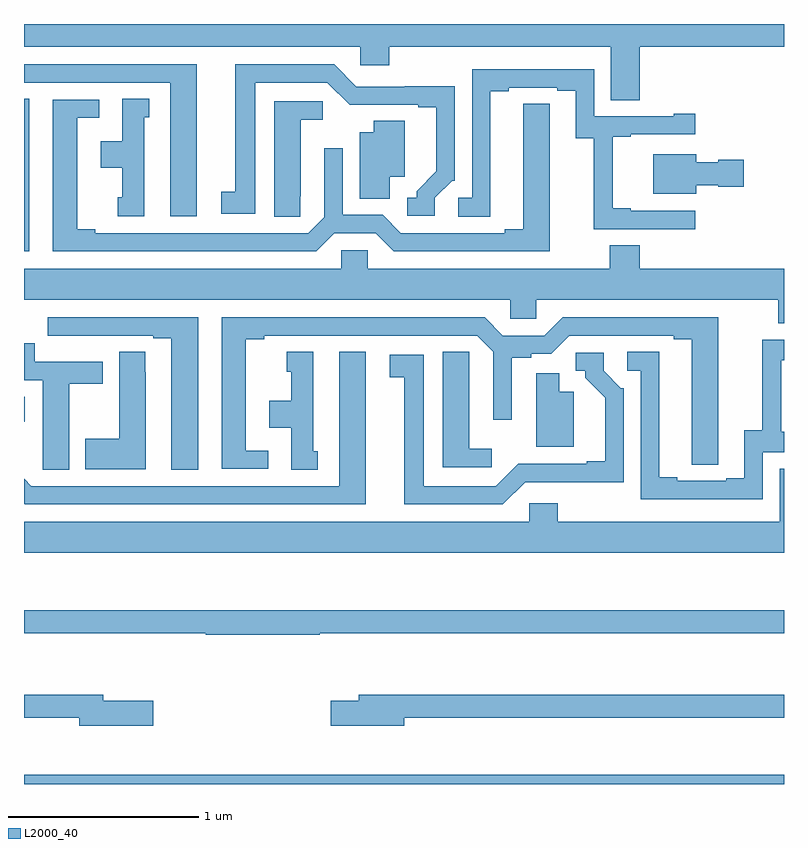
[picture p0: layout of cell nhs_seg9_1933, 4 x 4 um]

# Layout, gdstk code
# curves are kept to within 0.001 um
import gdstk
lib = gdstk.Library(unit=1e-6, precision=1e-09)
def R(c, l, rs):  # rectangles x0, y0, x1, y1
    for r in rs: c.add(gdstk.rectangle(r[:2], r[2:], *l))
def P(c, l, *ps):  # polygons
    for p in ps: c.add(gdstk.Polygon(p, *l))
L2000_40 = (2000, 40)

nhs_seg9_1933 = lib.new_cell('nhs_seg9_1933')
R(nhs_seg9_1933, L2000_40, [(219,1232.5,223,1232.548), (219,1234.407,219.004,1234.537), (219,1235.304,219.028,1236.107)])
P(nhs_seg9_1933, L2000_40, [(222.242,1236.38),(223,1236.38),(223,1236.5),(219,1236.5),(219,1236.38),(220.77,1236.38),(220.77,1236.282),(220.922,1236.282),(220.922,1236.38),(222.089,1236.38),(222.089,1236.1),(222.242,1236.1)],
  [(221.163,1235.586),(221.253,1235.676),(221.268,1235.676),(221.268,1236.173),(221.005,1236.173),(221.005,1236.171),(220.749,1236.171),(220.632,1236.288),(220.112,1236.288),(220.112,1235.618),(220.038,1235.618),(220.038,1235.502),(220.216,1235.502),(220.216,1236.192),(220.596,1236.192),(220.714,1236.074),(221.075,1236.075),(221.075,1236.063),(221.171,1236.063),(221.171,1235.726),(221.066,1235.621),(221.066,1235.586),(221.016,1235.586),(221.016,1235.49),(221.163,1235.49)],
  [(219.91,1236.288),(219,1236.288),(219,1236.192),(219.77,1236.192),(219.77,1235.487),(219.91,1235.487)],
  [(222.532,1235.517),(222.193,1235.517),(222.193,1235.53),(222.098,1235.53),(222.098,1235.907),(222.193,1235.907),(222.193,1235.919),(222.532,1235.919),(222.532,1236.028),(222.419,1236.028),(222.419,1236.015),(222,1236.015),(222,1236.261),(221.358,1236.261),(221.358,1235.586),(221.286,1235.586),(221.286,1235.485),(221.455,1235.485),(221.455,1236.145),(221.551,1236.145),(221.551,1236.165),(221.807,1236.165),(221.807,1236.15),(221.903,1236.15),(221.903,1235.899),(221.998,1235.899),(221.998,1235.421),(222.532,1235.421)],
  [(219.634,1236.009),(219.658,1236.009),(219.658,1236.107),(219.518,1236.107),(219.518,1235.884),(219.404,1235.884),(219.404,1235.744),(219.518,1235.744),(219.518,1235.589),(219.494,1235.589),(219.494,1235.487),(219.634,1235.487)],
  [(220.633,1235.4),(220.851,1235.4),(220.947,1235.304),(221.767,1235.304),(221.766,1236.08),(221.627,1236.08),(221.627,1235.42),(221.531,1235.42),(221.531,1235.4),(220.983,1235.4),(220.887,1235.496),(220.677,1235.496),(220.677,1235.845),(220.581,1235.845),(220.581,1235.484),(220.497,1235.4),(219.376,1235.4),(219.376,1235.42),(219.28,1235.42),(219.28,1236.006),(219.397,1236.006),(219.397,1236.102),(219.152,1236.102),(219.152,1235.304),(220.537,1235.304)],
  [(220.455,1235.593),(220.456,1235.593),(220.456,1235.996),(220.573,1235.996),(220.573,1236.093),(220.316,1236.093),(220.316,1235.485),(220.455,1235.485)],
  [(220.924,1235.696),(221.005,1235.696),(221.005,1235.99),(220.841,1235.99),(220.841,1235.929),(220.766,1235.929),(220.766,1235.581),(220.924,1235.581)],
  [(222.538,1235.651),(222.654,1235.651),(222.654,1235.644),(222.787,1235.644),(222.787,1235.786),(222.654,1235.786),(222.654,1235.773),(222.538,1235.773),(222.538,1235.815),(222.311,1235.815),(222.311,1235.606),(222.538,1235.606)],
  [(223,1235.212),(222.242,1235.212),(222.242,1235.336),(222.082,1235.336),(222.082,1235.212),(220.809,1235.212),(220.809,1235.31),(220.671,1235.31),(220.671,1235.212),(219,1235.212),(219,1235.048),(221.559,1235.048),(221.559,1234.95),(221.697,1234.95),(221.697,1235.048),(222.97,1235.048),(222.97,1234.924),(223,1234.924)],
  [(219.916,1234.956),(219.126,1234.956),(219.126,1234.86),(219.238,1234.86),(219.238,1234.859),(219.404,1234.859),(219.404,1234.86),(219.68,1234.86),(219.68,1234.845),(219.776,1234.845),(219.776,1234.153),(219.916,1234.153)],
  [(220.285,1234.254),(220.168,1234.254),(220.168,1234.84),(220.264,1234.84),(220.264,1234.86),(221.385,1234.86),(221.469,1234.776),(221.469,1234.416),(221.566,1234.416),(221.566,1234.744),(221.67,1234.744),(221.67,1234.764),(221.775,1234.764),(221.871,1234.86),(222.419,1234.86),(222.419,1234.84),(222.515,1234.84),(222.515,1234.18),(222.654,1234.18),(222.655,1234.956),(221.835,1234.956),(221.739,1234.86),(221.521,1234.86),(221.425,1234.956),(220.04,1234.956),(220.04,1234.158),(220.285,1234.158)],
  [(222.888,1234.245),(223,1234.245),(223,1234.354),(222.986,1234.354),(222.986,1234.731),(223,1234.731),(223,1234.839),(222.886,1234.839),(222.886,1234.361),(222.791,1234.361),(222.791,1234.11),(222.695,1234.11),(222.695,1234.095),(222.439,1234.095),(222.439,1234.115),(222.343,1234.115),(222.343,1234.775),(222.174,1234.775),(222.174,1234.674),(222.246,1234.674),(222.246,1233.999),(222.888,1233.999)],
  [(219.238,1234.606),(219.415,1234.606),(219.415,1234.722),(219.056,1234.722),(219.056,1234.819),(219,1234.819),(219,1234.626),(219.098,1234.626),(219.098,1234.264),(219.099,1234.264),(219.099,1234.153),(219.238,1234.153)],
  [(221.461,1234.264),(221.344,1234.264),(221.344,1234.667),(221.343,1234.667),(221.343,1234.775),(221.204,1234.775),(221.204,1234.167),(221.461,1234.167)],
  [(219.64,1234.667),(219.639,1234.667),(219.639,1234.775),(219.5,1234.775),(219.5,1234.317),(219.323,1234.317),(219.323,1234.157),(219.64,1234.157)],
  [(220.798,1234.774),(220.658,1234.774),(220.658,1234.068),(219.039,1234.068),(219,1234.107),(219,1233.975),(219.003,1233.972),(220.798,1233.972)],
  [(220.546,1234.251),(220.522,1234.251),(220.522,1234.774),(220.382,1234.774),(220.382,1234.671),(220.406,1234.671),(220.406,1234.516),(220.292,1234.516),(220.292,1234.376),(220.406,1234.376),(220.406,1234.153),(220.546,1234.153)],
  [(221.637,1234.089),(222.156,1234.088),(222.156,1234.584),(222.141,1234.584),(222.051,1234.674),(222.051,1234.77),(221.904,1234.77),(221.904,1234.674),(221.954,1234.674),(221.954,1234.639),(222.059,1234.534),(222.059,1234.198),(221.963,1234.198),(221.963,1234.185),(221.601,1234.185),(221.484,1234.068),(221.104,1234.068),(221.104,1234.758),(220.926,1234.758),(220.926,1234.642),(221,1234.642),(221,1233.972),(221.52,1233.972)],
  [(221.893,1234.564),(221.818,1234.564),(221.818,1234.663),(221.696,1234.663),(221.696,1234.274),(221.893,1234.274)],
  [(223,1234.16),(222.977,1234.16),(222.977,1233.88),(221.81,1233.88),(221.81,1233.978),(221.658,1233.978),(221.658,1233.88),(219,1233.88),(219,1233.716),(223,1233.716)],
  [(220.556,1233.294),(223,1233.294),(223,1233.415),(219,1233.415),(219,1233.294),(219.956,1233.294),(219.956,1233.286),(220.556,1233.286)],
  [(219.679,1232.937),(219.418,1232.937),(219.418,1232.971),(219,1232.971),(219,1232.85),(219.29,1232.85),(219.29,1232.807),(219.679,1232.807)],
  [(221.002,1232.85),(223,1232.85),(223,1232.971),(220.763,1232.971),(220.763,1232.937),(220.614,1232.937),(220.614,1232.807),(221.002,1232.807)])

lib.write_gds('nhs_seg9_1933.gds')
